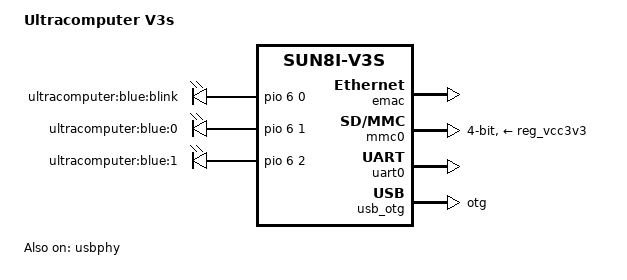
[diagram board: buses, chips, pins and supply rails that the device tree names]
// SPDX-License-Identifier: (GPL-2.0+ OR X11)
/*
 * Copyright 2021 Benjamin Marty <info@benjaminmarty.ch>
 */

/dts-v1/;
#include "sun8i-v3s.dtsi"
#include "sunxi-common-regulators.dtsi"

/ {
	model = "Ultracomputer V3s";
	compatible = "ultracomputer-v3s", "allwinner,sun8i-v3s";

	aliases {
		serial0 = &uart0;
	};

	chosen {
		stdout-path = "serial0:115200n8";
	};

	aliases {
		ethernet0 = &emac;
	};

	leds {
		compatible = "gpio-leds";

		blink_led {
			label = "ultracomputer:blue:blink";
			gpios = <&pio 6 0 GPIO_ACTIVE_HIGH>; /* PG0 */
			linux,default-trigger = "heartbeat";
			default-state = "off";
		};

		0_led {
			label = "ultracomputer:blue:0";
			gpios = <&pio 6 1 GPIO_ACTIVE_HIGH>; /* PG1 */
			default-state = "off";
		};

		1_led {
			label = "ultracomputer:blue:1";
			gpios = <&pio 6 2 GPIO_ACTIVE_HIGH>; /* PG2 */
			default-state = "off";
		};
	};
};

&emac {
	status = "okay";
};

&mmc0 {
	broken-cd;
	bus-width = <4>;
	vmmc-supply = <&reg_vcc3v3>;
	status = "okay";
};

&uart0 {
	pinctrl-0 = <&uart0_pb_pins>;
	pinctrl-names = "default";
	status = "okay";
};

&usb_otg {
	dr_mode = "otg";
	status = "okay";
};

&usbphy {
	usb0_id_det-gpios = <&pio 5 6 GPIO_ACTIVE_HIGH>;
	status = "okay";
};
